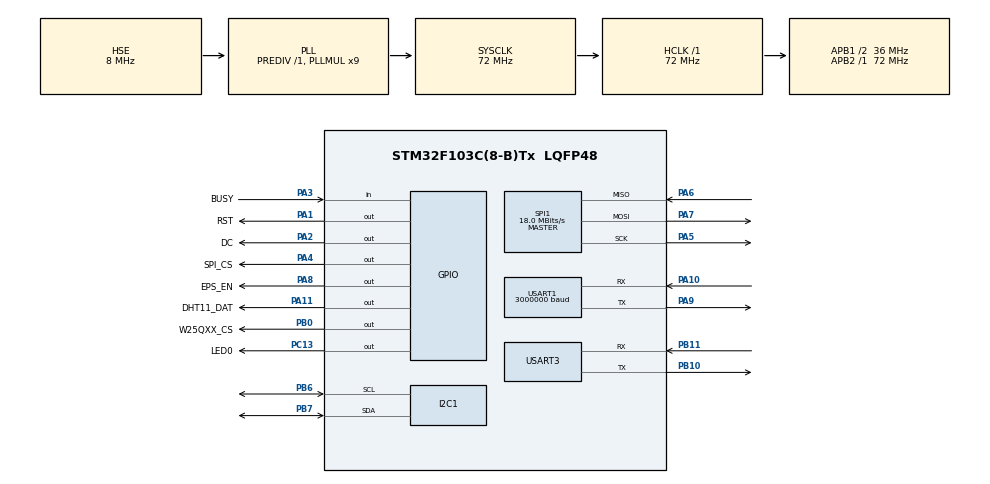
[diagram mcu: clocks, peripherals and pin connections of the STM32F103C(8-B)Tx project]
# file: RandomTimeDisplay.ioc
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Dma.Request0=USART1_RX
Dma.Request1=USART1_TX
Dma.Request2=SPI1_RX
Dma.Request3=SPI1_TX
Dma.SPI1_RX.2.Direction=DMA_PERIPH_TO_MEMORY
Dma.SPI1_RX.2.Instance=DMA1_Channel2
Dma.SPI1_RX.2.MemDataAlignment=DMA_MDATAALIGN_BYTE
Dma.SPI1_RX.2.MemInc=DMA_MINC_ENABLE
Dma.SPI1_RX.2.Mode=DMA_NORMAL
Dma.SPI1_RX.2.PeriphDataAlignment=DMA_PDATAALIGN_BYTE
Dma.SPI1_RX.2.PeriphInc=DMA_PINC_DISABLE
Dma.SPI1_RX.2.Priority=DMA_PRIORITY_LOW
Dma.SPI1_TX.3.Direction=DMA_MEMORY_TO_PERIPH
Dma.SPI1_TX.3.Instance=DMA1_Channel3
Dma.SPI1_TX.3.MemDataAlignment=DMA_MDATAALIGN_BYTE
Dma.SPI1_TX.3.MemInc=DMA_MINC_ENABLE
Dma.SPI1_TX.3.Mode=DMA_NORMAL
Dma.SPI1_TX.3.PeriphDataAlignment=DMA_PDATAALIGN_BYTE
Dma.SPI1_TX.3.PeriphInc=DMA_PINC_DISABLE
Dma.SPI1_TX.3.Priority=DMA_PRIORITY_LOW
Dma.USART1_RX.0.Direction=DMA_PERIPH_TO_MEMORY
Dma.USART1_RX.0.Instance=DMA1_Channel5
Dma.USART1_RX.0.MemDataAlignment=DMA_MDATAALIGN_BYTE
Dma.USART1_RX.0.MemInc=DMA_MINC_ENABLE
Dma.USART1_RX.0.Mode=DMA_NORMAL
Dma.USART1_RX.0.PeriphDataAlignment=DMA_PDATAALIGN_BYTE
Dma.USART1_RX.0.PeriphInc=DMA_PINC_DISABLE
Dma.USART1_RX.0.Priority=DMA_PRIORITY_MEDIUM
Dma.USART1_TX.1.Direction=DMA_MEMORY_TO_PERIPH
Dma.USART1_TX.1.Instance=DMA1_Channel4
Dma.USART1_TX.1.MemDataAlignment=DMA_MDATAALIGN_BYTE
Dma.USART1_TX.1.MemInc=DMA_MINC_ENABLE
Dma.USART1_TX.1.Mode=DMA_NORMAL
Dma.USART1_TX.1.PeriphDataAlignment=DMA_PDATAALIGN_BYTE
Dma.USART1_TX.1.PeriphInc=DMA_PINC_DISABLE
Dma.USART1_TX.1.Priority=DMA_PRIORITY_MEDIUM
FREERTOS.BinarySemaphores01=Usart1_Receive_BinSemaphore,Dynamic,NULL;en_epd_refresh,Dynamic,NULL
FREERTOS.Tasks01=defaultTask,2,512,StartDefaultTask,Default,NULL,Dynamic,NULL,NULL;LED_TASK,-2,128,led_task,Default,NULL,Dynamic,NULL,NULL;USART1_TASK,-2,256,usart1_task,Default,NULL,Dynamic,NULL,NULL;TASK_EPD,-2,512,epd_refresh,Default,NULL,Dynamic,NULL,NULL
FREERTOS.Timers01=timer_1_sec,time_update,osTimerPeriodic,Default,NULL,Dynamic,NULL
FREERTOS.configTIMER_QUEUE_LENGTH=2
FREERTOS.configTOTAL_HEAP_SIZE=6520
FREERTOS.configUSE_TIMERS=0
I2C1.DutyCycle=I2C_DUTYCYCLE_16_9
I2C1.I2C_Mode=I2C_Fast
Mcu.Family=STM32F1
Mcu.Name=STM32F103C(8-B)Tx
Mcu.Package=LQFP48
NVIC.DMA1_Channel2_IRQn=true\:5\:0\:false\:false\:true\:true\:false\:true\:true
NVIC.DMA1_Channel3_IRQn=true\:5\:0\:false\:false\:true\:true\:false\:true\:true
NVIC.DMA1_Channel4_IRQn=true\:5\:0\:false\:false\:true\:true\:false\:true\:true
NVIC.DMA1_Channel5_IRQn=true\:5\:0\:false\:false\:true\:true\:false\:true\:true
NVIC.I2C1_ER_IRQn=true\:5\:0\:false\:false\:true\:true\:true\:true\:true
NVIC.I2C1_EV_IRQn=true\:5\:0\:false\:false\:true\:true\:true\:true\:true
NVIC.PriorityGroup=NVIC_PRIORITYGROUP_4
NVIC.TIM3_IRQn=true\:10\:0\:true\:false\:true\:true\:true\:true\:true
NVIC.USART1_IRQn=true\:5\:0\:false\:false\:true\:true\:true\:true\:true
NVIC.USART3_IRQn=true\:5\:0\:false\:false\:true\:true\:true\:true\:true
PA1.GPIO_Label=RST
PA1.Signal=GPIO_Output
PA10.Mode=Asynchronous
PA10.Signal=USART1_RX
PA11.GPIO_Label=DHT11_DAT
PA11.Signal=GPIO_Output
PA13.Mode=Serial_Wire
PA13.Signal=SYS_JTMS-SWDIO
PA14.Mode=Serial_Wire
PA14.Signal=SYS_JTCK-SWCLK
PA2.GPIO_Label=DC
PA2.Signal=GPIO_Output
PA3.GPIO_Label=BUSY
PA3.Signal=GPIO_Input
PA4.GPIO_Label=SPI_CS
PA4.Signal=GPIO_Output
PA5.Mode=Full_Duplex_Master
PA5.Signal=SPI1_SCK
PA6.Mode=Full_Duplex_Master
PA6.Signal=SPI1_MISO
PA7.Mode=Full_Duplex_Master
PA7.Signal=SPI1_MOSI
PA8.GPIO_Label=EPS_EN
PA8.Signal=GPIO_Output
PA9.Mode=Asynchronous
PA9.Signal=USART1_TX
PB0.GPIO_Label=W25QXX_CS
PB0.PinState=GPIO_PIN_SET
PB0.Signal=GPIO_Output
PB10.Mode=Asynchronous
PB10.Signal=USART3_TX
PB11.Mode=Asynchronous
PB11.Signal=USART3_RX
PB6.GPIO_Pu=GPIO_PULLUP
PB6.Mode=I2C
PB6.Signal=I2C1_SCL
PB7.GPIO_Pu=GPIO_PULLUP
PB7.Mode=I2C
PB7.Signal=I2C1_SDA
PC13-TAMPER-RTC.GPIO_Label=LED0
PC13-TAMPER-RTC.GPIO_PuPd=GPIO_PULLUP
PC13-TAMPER-RTC.PinState=GPIO_PIN_SET
PC13-TAMPER-RTC.Signal=GPIO_Output
PD0-OSC_IN.Mode=HSE-External-Oscillator
PD0-OSC_IN.Signal=RCC_OSC_IN
PD1-OSC_OUT.Mode=HSE-External-Oscillator
PD1-OSC_OUT.Signal=RCC_OSC_OUT
ProjectManager.HeapSize=0x200
ProjectManager.StackSize=0x400
ProjectManager.TargetToolchain=MDK-ARM V5.27
RCC.AHBFreq_Value=72000000
RCC.APB1CLKDivider=RCC_HCLK_DIV2
RCC.APB1Freq_Value=36000000
RCC.APB1TimFreq_Value=72000000
RCC.APB2Freq_Value=72000000
RCC.APB2TimFreq_Value=72000000
RCC.HCLKFreq_Value=72000000
RCC.PLLMUL=RCC_PLL_MUL9
RCC.PLLSourceVirtual=RCC_PLLSOURCE_HSE
RCC.SYSCLKFreq_VALUE=72000000
RCC.SYSCLKSource=RCC_SYSCLKSOURCE_PLLCLK
RCC.USBFreq_Value=72000000
SPI1.BaudRatePrescaler=SPI_BAUDRATEPRESCALER_4
SPI1.CalculateBaudRate=18.0 MBits/s
SPI1.Direction=SPI_DIRECTION_2LINES
SPI1.Mode=SPI_MODE_MASTER
SPI1.VirtualType=VM_MASTER
TIM3.AutoReloadPreload=TIM_AUTORELOAD_PRELOAD_ENABLE
TIM3.Period=39999
TIM3.Prescaler=7199
USART1.BaudRate=3000000
USART1.VirtualMode=VM_ASYNC
USART3.VirtualMode=VM_ASYNC
VP_FREERTOS_VS_CMSIS_V1.Mode=CMSIS_V1
VP_TIM3_VS_ClockSourceINT.Mode=Internal
board=custom

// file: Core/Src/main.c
/* USER CODE BEGIN Header */
/**
 ******************************************************************************
 * @file           : main.c
 * @brief          : Main program body
 ******************************************************************************
 * @attention
 *
 * <h2><center>&copy; Copyright (c) 2022 STMicroelectronics.
 * All rights reserved.</center></h2>
 *
 * This software component is licensed by ST under Ultimate Liberty license
 * SLA0044, the "License"; You may not use this file except in compliance with
 * the License. You may obtain a copy of the License at:
 *                             www.st.com/SLA0044
 *
 ******************************************************************************
 */
/* USER CODE END Header */
#include "main.h"
#include "cmsis_os.h"
#include "dma.h"
#include "i2c.h"
#include "spi.h"
#include "tim.h"
#include "usart.h"
#include "gpio.h"

/* USER CODE BEGIN Includes */
#include "delay.h"
#include "EPD_Test.h"
#include "EPD_2in7_V2.h"
#include "ds1307.h"
#include <stdio.h>
/* USER CODE END Includes */

void SystemClock_Config(void);
void MX_FREERTOS_Init(void);

int main(void)
{

  /* MCU Configuration--------------------------------------------------------*/

  /* Reset of all peripherals, Initializes the Flash interface and the Systick. */
  HAL_Init();

  /* Configure the system clock */
  SystemClock_Config();

  /* Initialize all configured peripherals */
  MX_GPIO_Init();
  MX_DMA_Init();
  MX_USART1_UART_Init();
  MX_I2C1_Init();
  MX_SPI1_Init();
  MX_USART3_UART_Init();
  MX_TIM3_Init();
  /* USER CODE BEGIN 2 */
    delay_init();
    HAL_TIM_Base_Start_IT(&htim3); // 启动定时器
                                   // HAL_UART_Receive_DMA(&huart1, (uint8_t*)USART_RX_BUF, USART_REC_LEN);     //设置DMA传输，将串口1的数据搬运到recvive_buff中，每次255个字节
  /* USER CODE END 2 */

  /* Call init function for freertos objects (in freertos.c) */
  MX_FREERTOS_Init();

  /* Start scheduler */
  osKernelStart();

  /* We should never get here as control is now taken by the scheduler */
  /* Infinite loop */
    while (1)
    {

    }
}

void SystemClock_Config(void)
{
  RCC_OscInitTypeDef RCC_OscInitStruct = {0};
  RCC_ClkInitTypeDef RCC_ClkInitStruct = {0};

  /** Initializes the RCC Oscillators according to the specified parameters
  * in the RCC_OscInitTypeDef structure.
  */
  RCC_OscInitStruct.OscillatorType = RCC_OSCILLATORTYPE_HSE;
  RCC_OscInitStruct.HSEState = RCC_HSE_ON;
  RCC_OscInitStruct.HSEPredivValue = RCC_HSE_PREDIV_DIV1;
  RCC_OscInitStruct.HSIState = RCC_HSI_ON;
  RCC_OscInitStruct.PLL.PLLState = RCC_PLL_ON;
  RCC_OscInitStruct.PLL.PLLSource = RCC_PLLSOURCE_HSE;
  RCC_OscInitStruct.PLL.PLLMUL = RCC_PLL_MUL9;
  if (HAL_RCC_OscConfig(&RCC_OscInitStruct) != HAL_OK)
  {
    Error_Handler();
  }

  /** Initializes the CPU, AHB and APB buses clocks
  */
  RCC_ClkInitStruct.ClockType = RCC_CLOCKTYPE_HCLK|RCC_CLOCKTYPE_SYSCLK
                              |RCC_CLOCKTYPE_PCLK1|RCC_CLOCKTYPE_PCLK2;
  RCC_ClkInitStruct.SYSCLKSource = RCC_SYSCLKSOURCE_PLLCLK;
  RCC_ClkInitStruct.AHBCLKDivider = RCC_SYSCLK_DIV1;
  RCC_ClkInitStruct.APB1CLKDivider = RCC_HCLK_DIV2;
  RCC_ClkInitStruct.APB2CLKDivider = RCC_HCLK_DIV1;

  if (HAL_RCC_ClockConfig(&RCC_ClkInitStruct, FLASH_LATENCY_2) != HAL_OK)
  {
    Error_Handler();
  }
}

/* USER CODE BEGIN 4 */
/**
 * @name: HAL_TIM_PeriodElapsedCallback
 * @msg: 定时器回调函数, 500ms触发一次
 * @param {TIM_HandleTypeDef} *htim
 * @return {无}
 * @author: TOTHTOT
 * @date: 2023年7月23日
 */
void HAL_TIM_PeriodElapsedCallback(TIM_HandleTypeDef *htim)
{
    if (htim->Instance == TIM3)
    {
        g_ds1307_dev_st.time_increase(&g_epd_dev.current_time);
        g_ds1307_dev_st.printf_time(&g_epd_dev.current_time);
        if (g_epd_dev.en_refresh_callback != NULL)
        {
            if (g_epd_dev.enter_system_flag == 1)
            {
                if (g_epd_dev.current_time.Sec == 1)
                    g_epd_dev.en_refresh_callback(&g_epd_dev, EPD_MAIN_SCREEN_ELEMENT_TIME);
            }
        }
        else
        {
            ERROR_PRINT("en_refresh_callback() is null\r\n");
        }
        // print_current_time(&g_epd_dev.current_time);
    }
}
/* USER CODE END 4 */

void Error_Handler(void)
{
    __disable_irq();
    while (1)
    {
    }
}

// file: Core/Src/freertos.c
/* USER CODE BEGIN Header */
/**
 ******************************************************************************
 * File Name          : freertos.c
 * Description        : Code for freertos applications
 ******************************************************************************
 * @attention
 *
 * <h2><center>&copy; Copyright (c) 2022 STMicroelectronics.
 * All rights reserved.</center></h2>
 *
 * This software component is licensed by ST under Ultimate Liberty license
 * SLA0044, the "License"; You may not use this file except in compliance with
 * the License. You may obtain a copy of the License at:
 *                             www.st.com/SLA0044
 *
 ******************************************************************************
 */
/* USER CODE END Header */

#include "FreeRTOS.h"
#include "task.h"
#include "main.h"
#include "cmsis_os.h"

/* USER CODE BEGIN Includes */
#include "semphr.h"
#include "delay.h"
#include "led.h"
#include "key.h"
#include "usart.h"
#include "string.h"
#include <stdio.h>
#include "usart1.h"
#include "EPD_Test.h"
#include "EPD_2in7_V2.h"
#include "w25qxx.h"
#include "ds1307.h"
#include "dht11.h"
/* USER CODE END Includes */

osThreadId defaultTaskHandle;
osThreadId LED_TASKHandle;
osThreadId USART1_TASKHandle;
osThreadId TASK_EPDHandle;
osSemaphoreId Usart1_Receive_BinSemaphoreHandle;
osSemaphoreId en_epd_refreshHandle;

void StartDefaultTask(void const *argument);
void led_task(void const *argument);
void usart1_task(void const *argument);
void epd_refresh(void const *argument);

void MX_FREERTOS_Init(void); /* (MISRA C 2004 rule 8.1) */

/* GetIdleTaskMemory prototype (linked to static allocation support) */
void vApplicationGetIdleTaskMemory(StaticTask_t **ppxIdleTaskTCBBuffer, StackType_t **ppxIdleTaskStackBuffer, uint32_t *pulIdleTaskStackSize);

/* USER CODE BEGIN GET_IDLE_TASK_MEMORY */
static StaticTask_t xIdleTaskTCBBuffer;
static StackType_t xIdleStack[configMINIMAL_STACK_SIZE];

void vApplicationGetIdleTaskMemory(StaticTask_t **ppxIdleTaskTCBBuffer, StackType_t **ppxIdleTaskStackBuffer, uint32_t *pulIdleTaskStackSize)
{
    *ppxIdleTaskTCBBuffer = &xIdleTaskTCBBuffer;
    *ppxIdleTaskStackBuffer = &xIdleStack[0];
    *pulIdleTaskStackSize = configMINIMAL_STACK_SIZE;
    /* place for user code */
}
/* USER CODE END GET_IDLE_TASK_MEMORY */

void MX_FREERTOS_Init(void)
{

    /* Create the semaphores(s) */
    /* definition and creation of Usart1_Receive_BinSemaphore */
    osSemaphoreDef(Usart1_Receive_BinSemaphore);
    Usart1_Receive_BinSemaphoreHandle = osSemaphoreCreate(osSemaphore(Usart1_Receive_BinSemaphore), 1);

    /* definition and creation of en_epd_refresh */
    osSemaphoreDef(en_epd_refresh);
    en_epd_refreshHandle = osSemaphoreCreate(osSemaphore(en_epd_refresh), 1);

    /* USER CODE BEGIN RTOS_SEMAPHORES */
    /* add semaphores, ... */
    xSemaphoreTake(Usart1_Receive_BinSemaphoreHandle, portMAX_DELAY);
    xSemaphoreTake(en_epd_refreshHandle, osWaitForever);
    // xSemaphoreTake(en_epd_refreshHandle, portMAX_DELAY);
    /* USER CODE END RTOS_SEMAPHORES */

    /* Create the thread(s) */
    /* definition and creation of defaultTask */
    osThreadDef(defaultTask, StartDefaultTask, osPriorityHigh, 0, 512);
    defaultTaskHandle = osThreadCreate(osThread(defaultTask), NULL);

    /* definition and creation of LED_TASK */
    osThreadDef(LED_TASK, led_task, osPriorityLow, 0, 128);
    LED_TASKHandle = osThreadCreate(osThread(LED_TASK), NULL);

    /* definition and creation of USART1_TASK */
    osThreadDef(USART1_TASK, usart1_task, osPriorityLow, 0, 256);
    USART1_TASKHandle = osThreadCreate(osThread(USART1_TASK), NULL);

    /* definition and creation of TASK_EPD */
    osThreadDef(TASK_EPD, epd_refresh, osPriorityLow, 0, 512);
    TASK_EPDHandle = osThreadCreate(osThread(TASK_EPD), NULL);

}

void StartDefaultTask(void const *argument)
{
    /* USER CODE BEGIN StartDefaultTask */
    /* Infinite loop */
    uint32_t ret = 0;
    INFO_PRINT("system version %s\r\nbuild date %s, time %s\r\n", APP_VERSION, __DATE__, __TIME__);
    ret = w25qxx_init(&g_w25qxx_dev_st); // 先初始化 w25qxx

    // 初始化w25qxx
    INFO_PRINT("flash device type = %x\r\n", ret);
    if (g_w25qxx_dev_st.state_em == W25QXX_STATE_ONLINE) // W25QXX 在线的前提下才需要检查标�??, 如果不在线就用默认的图标
    {
        // �??查标志位不符�??, 写入icon数据以及其他配置数据
        if (g_w25qxx_dev_st.check_flag_cb(&g_w25qxx_dev_st, W25QXX_FLAG_ADDER, W25QXX_FLAG_DATA, W25QXX_FLAG_LEN) != 0)
        {
            INFO_PRINT("w25qxx flag not ok\r\n");
            // 写入标志
            g_w25qxx_dev_st.write_data_cb(W25QXX_FLAG_DATA, W25QXX_FLAG_ADDER, W25QXX_FLAG_LEN, &g_w25qxx_dev_st);
            // 写入icon
            g_w25qxx_dev_st.write_data_cb(gImage_wifi_unlink_icon, WIFI_UNLINKED_ICON_ADDER, EPD_MAIN_PAGE_ICON_SIZE, &g_w25qxx_dev_st);
            g_w25qxx_dev_st.write_data_cb(gImage_wifi_linked_icon, WIFI_LINKED_ICON_ADDER, EPD_MAIN_PAGE_ICON_SIZE, &g_w25qxx_dev_st);
            g_w25qxx_dev_st.write_data_cb(gImage_cloudy_icon, WEATHER_CLOUDY_ICON_ADDER, EPD_MAIN_PAGE_ICON_SIZE, &g_w25qxx_dev_st);
            g_w25qxx_dev_st.write_data_cb(gImage_rain_icon, WEATHER_RAINY_ICON_ADDER, EPD_MAIN_PAGE_ICON_SIZE, &g_w25qxx_dev_st);
            g_w25qxx_dev_st.write_data_cb(gImage_snow_icon, WEATHER_SNOWY_ICON_ADDER, EPD_MAIN_PAGE_ICON_SIZE, &g_w25qxx_dev_st);
            g_w25qxx_dev_st.write_data_cb(gImage_sunny_icon, WEATHER_SUNNY_ICON_ADDER, EPD_MAIN_PAGE_ICON_SIZE, &g_w25qxx_dev_st);
        }
        else
        {
            INFO_PRINT("w25qxx flag ok\r\n");
        }
    }

    extern uint8_t epd_spi_write_byte(uint8_t data);
    extern uint8_t edp_pin_ctrl(epd_pin_ctrl_t pin, uint8_t state);
    extern uint8_t epd_start(void);
    extern uint8_t epd_end(void);
    extern uint8_t epd_en_refresh(epd_dev_v2_t * dev, epd_screen_element_t element);

    if (dht11_init(&g_dht11_device_st) != 0)
    {
        g_dht11_device_st.state_em = DHT11_STATUS_OFFLINE;
        ERROR_PRINT("dht11 init failed\r\n");
    }
    else
    {
        INFO_PRINT("dht11 init success\r\n");
        delay_xms(1500);
        ret = g_dht11_device_st.read_data_cb(&g_dht11_device_st);
        ret = g_dht11_device_st.read_data_cb(&g_dht11_device_st);
        ret = g_dht11_device_st.read_data_cb(&g_dht11_device_st);
        ret = g_dht11_device_st.read_data_cb(&g_dht11_device_st);
        if (ret != 0)
            ERROR_PRINT("read_data_cb() fault[%d]\r\n", ret);
        else
            INFO_PRINT("temp = %dC humi = %d%%\r\n", g_dht11_device_st.temp, g_dht11_device_st.humi);
        INFO_PRINT("T:%d, H:%d\r\n", g_dht11_device_st.temp, g_dht11_device_st.humi);
        g_dht11_device_st.state_em = DHT11_STATUS_ONLINE;
    }

#ifdef REDEFINE_TIME
    g_epd_dev.current_time.Hour = 12;
    g_epd_dev.current_time.Min = 31;
    g_epd_dev.current_time.Sec = 0;
    g_epd_dev.current_time.Day = 13;
    g_epd_dev.current_time.Month = 8;
    g_epd_dev.current_time.Year = 2023;
#endif /* REDEFINE_TIME */

    ds1307_init(&g_ds1307_dev_st, &g_epd_dev.current_time);
    epd_init(&g_epd_dev, &g_w25qxx_dev_st, &g_dht11_device_st, delay_xms, epd_spi_write_byte,
             epd_start, epd_end, edp_pin_ctrl, epd_en_refresh);
    g_epd_dev.enter_system_flag = 1; // 系统初始化完成标志

    vTaskDelete(NULL);
    /* USER CODE END StartDefaultTask */
}

void led_task(void const *argument)
{
    /* USER CODE BEGIN led_task */
    uint8_t ret = 0;
    /* Infinite loop */
    for (;;)
    {
        if (g_dht11_device_st.read_data_cb != NULL)
        {
            ret = g_dht11_device_st.read_data_cb(&g_dht11_device_st);
            if (ret != 0)
                ERROR_PRINT("read_data_cb() fault[%d]\r\n", ret);
            else
                INFO_PRINT("temp = %dC humi = %d%%\r\n", g_dht11_device_st.temp, g_dht11_device_st.humi);
        }
        else
            ERROR_PRINT("read_data_cb() is null\r\n");

        LED0_TOGGLE;
        delay_ms(1000);
    }
    /* USER CODE END led_task */
}

void usart1_task(void const *argument)
{
    /* USER CODE BEGIN usart1_task */
    uint8_t len;
    /* Infinite loop */
    for (;;)
    {
        xSemaphoreTake(Usart1_Receive_BinSemaphoreHandle, portMAX_DELAY);
        len = USART_RX_STA & 0x3fff; // get lenth of the data
        printf("data:%s len:%d\r\n", USART_RX_BUF, len);
        memset(USART_RX_BUF, '\0', sizeof(USART_RX_BUF)); // initialization buf
        USART_RX_STA = 0;
        delay_ms(1);
    }
    /* USER CODE END usart1_task */
}

void epd_refresh(void const *argument)
{
    /* USER CODE BEGIN epd_refresh */
    /* Infinite loop */

    for (;;)
    {
        osSemaphoreWait(en_epd_refreshHandle, osWaitForever);
        // INFO_PRINT("refresh screen element[%d].\r\n", g_epd_dev.refresh_element);
        g_epd_dev.module_start_callback();
        EPD_2IN7_V2_Init(&g_epd_dev);

        epd_main_updata(&g_epd_dev, g_epd_dev.refresh_element);
        g_epd_dev.refresh_element = EPD_MAIN_SCREEN_ELEMENT_T;
        epd_main_updata(&g_epd_dev, g_epd_dev.refresh_element);
        g_epd_dev.refresh_element = EPD_MAIN_SCREEN_ELEMENT_H;
        epd_main_updata(&g_epd_dev, g_epd_dev.refresh_element);

        g_epd_dev.refresh_element = EPD_MAIN_SCREEN_ELEMENT_NONE;

        // 必须两次 不然显示不正显示
        EPD_2IN7_V2_Display_Partial(&g_epd_dev, g_epd_dev.frame_buf, 0, 0, EPD_2IN7_V2_WIDTH, EPD_2IN7_V2_HEIGHT);
        EPD_2IN7_V2_Display_Partial(&g_epd_dev, g_epd_dev.frame_buf, 0, 0, EPD_2IN7_V2_WIDTH, EPD_2IN7_V2_HEIGHT);
        EPD_2IN7_V2_Sleep(&g_epd_dev);
        g_epd_dev.module_end_callback();
#if (USE_ELEMENT_BUF == 1)
        double t_ = 0.0;
        uint16_t x = 8;
        uint16_t x_pre = 8;
        uint8_t *p_output_buf = NULL;
        uint8_t *p_output_buf_pre = NULL;
        p_output_buf_pre = p_output_buf;
        x_pre = x;
        switch (g_epd_dev.refresh_element)
        {
        case EPD_MAIN_SCREEN_ELEMENT_TIME: // 时钟
            Paint_NewImage(g_epd_dev.time_frame_buf, 50, 120, 90, WHITE);
            Paint_SelectImage(g_epd_dev.time_frame_buf);
            Paint_Clear(WHITE);
            Paint_DrawRectangle(1, 1, 120, 50, BLACK, DOT_PIXEL_1X1, DRAW_FILL_EMPTY);
            Paint_DrawTime(10, 15, &g_epd_dev.current_time, &Font20, WHITE, BLACK);
            x = 8;
            p_output_buf = g_epd_dev.time_frame_buf;
            break;
        case EPD_MAIN_SCREEN_ELEMENT_T_H: // 温湿
            Paint_NewImage(g_epd_dev.t_h_frame_buf, 50, 120, 90, WHITE);
            Paint_SelectImage(g_epd_dev.t_h_frame_buf);
            Paint_Clear(WHITE);
            Paint_DrawNumDecimals(0, 0, t_++, &Font20, 3, BLACK, WHITE);
            Paint_DrawRectangle(1, 1, 120, 50, BLACK, DOT_PIXEL_1X1, DRAW_FILL_EMPTY);
            x = 80;
            p_output_buf = g_epd_dev.t_h_frame_buf;
            break;
        default:
            break;
        }
        // EPD_2IN7_V2_Display_Partial(&g_epd_dev, p_output_buf_pre, 0, 0, EPD_2IN7_V2_WIDTH, EPD_2IN7_V2_HEIGHT); // Xstart must be a multiple of 8
        // EPD_2IN7_V2_Display_Partial(&g_epd_dev, p_output_buf, 0, 0, EPD_2IN7_V2_WIDTH, EPD_2IN7_V2_HEIGHT);     // Xstart must be a multiple of 8
        g_epd_dev.refresh_element = EPD_MAIN_SCREEN_ELEMENT_NONE;
#endif /* USE_ELEMENT_BUF */
        delay_ms(10);
    }
    /* USER CODE END epd_refresh */
}
